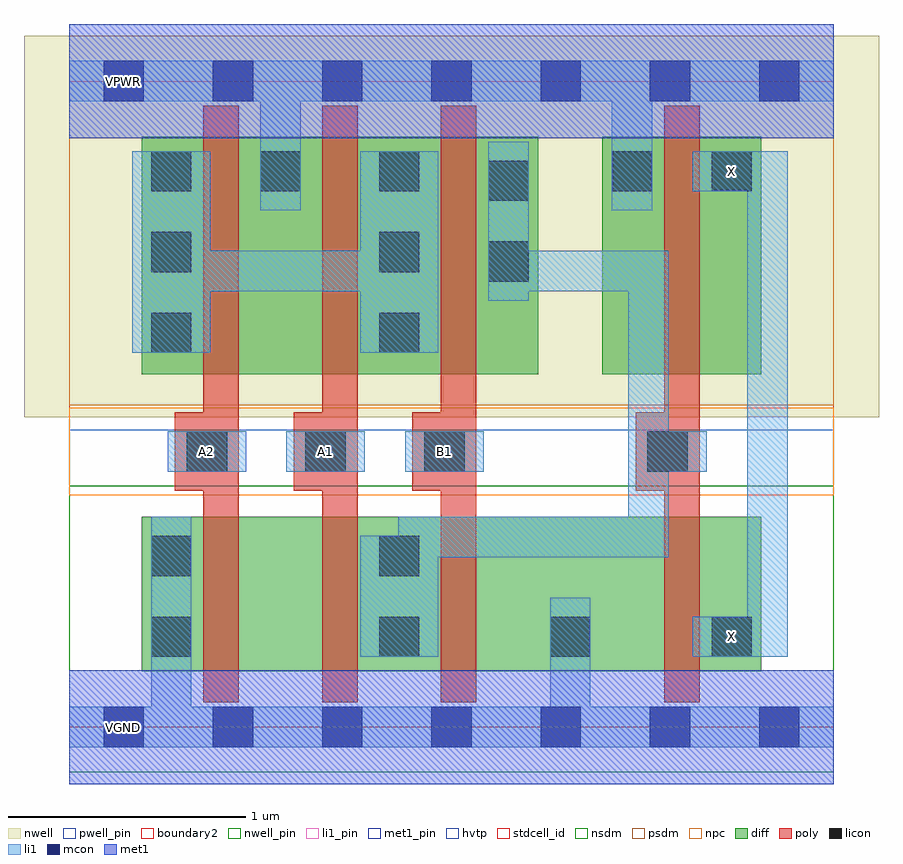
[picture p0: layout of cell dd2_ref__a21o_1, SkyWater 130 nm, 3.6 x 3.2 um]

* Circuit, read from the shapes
.subckt dd2_ref__a21o_1 A1 A2 B1 VGND VNB VPB VPWR X
XM1 n1 A2 VGND VNB sky130_fd_pr__nfet_01v8 w=0.65 l=0.15
XM2 n2 A1 n1 VNB sky130_fd_pr__nfet_01v8 w=0.65 l=0.15
XM3 VGND B1 n2 VNB sky130_fd_pr__nfet_01v8 w=0.65 l=0.15
XM4 X n2 VGND VNB sky130_fd_pr__nfet_01v8 w=0.65 l=0.15
XM5 VPWR A2 n3 VPB sky130_fd_pr__pfet_01v8_hvt w=1 l=0.15
XM6 n3 A1 VPWR VPB sky130_fd_pr__pfet_01v8_hvt w=1 l=0.15
XM7 n2 B1 n3 VPB sky130_fd_pr__pfet_01v8_hvt w=1 l=0.15
XM8 X n2 VPWR VPB sky130_fd_pr__pfet_01v8_hvt w=1 l=0.15
.ends

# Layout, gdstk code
import gdstk
lib = gdstk.Library(unit=1e-6, precision=1e-09)
def R(c, l, rs):  # rectangles x0, y0, x1, y1
    for r in rs: c.add(gdstk.rectangle(r[:2], r[2:], *l))
def A(c, l, x, y, w, h, nx, ny, dx, dy):  # array of equal rectangles
    R(c, l, [(x+i*dx, y+j*dy, x+i*dx+w, y+j*dy+h) for i in range(nx) for j in range(ny)])
nwell_pin = (64, 16)
nwell = (64, 20)
diff = (65, 20)
poly = (66, 20)
licon = (66, 44)
li1_pin = (67, 16)
li1 = (67, 20)
mcon = (67, 44)
met1_pin = (68, 16)
met1 = (68, 20)
hvtp = (78, 44)
stdcell_id = (81, 4)
nsdm = (93, 44)
psdm = (94, 20)
npc = (95, 20)
pwell_pin = (122, 16)
boundary2 = (236, 0)

dd2_ref__a21o_1 = lib.new_cell('dd2_ref__a21o_1')
R(dd2_ref__a21o_1, nwell_pin, [(0.145,2.635,0.315,2.805)])
R(dd2_ref__a21o_1, nwell, [(-0.19,1.305,3.41,2.91)])
R(dd2_ref__a21o_1, diff, [(0.305,0.235,0.89,0.885), (0.89,0.235,1.39,0.885), (1.39,0.235,2.11,0.885), (2.11,0.235,2.915,0.885), (0.305,1.485,0.89,2.485), (0.89,1.485,1.39,2.485), (1.39,1.485,1.975,2.485), (2.245,1.485,2.915,2.485)])
A(dd2_ref__a21o_1, poly, 0.565, 0.105, 0.15, 2.51, 3, 1, 0.5, 0)
A(dd2_ref__a21o_1, poly, 0.445, 0.995, 0.27, 0.33, 3, 1, 0.5, 0)
R(dd2_ref__a21o_1, poly, [(2.505,0.105,2.655,2.615), (2.385,0.995,2.655,1.325)])
A(dd2_ref__a21o_1, licon, 0.495, 1.075, 0.17, 0.17, 3, 1, 0.5, 0)
A(dd2_ref__a21o_1, licon, 0.345, 1.575, 0.17, 0.17, 1, 3, 0, 0.34)
A(dd2_ref__a21o_1, licon, 1.305, 1.575, 0.17, 0.17, 1, 3, 0, 0.34)
R(dd2_ref__a21o_1, licon, [(0.345,0.295,0.515,0.465), (1.305,0.295,1.475,0.465), (2.025,0.295,2.195,0.465), (2.705,0.295,2.875,0.465), (0.345,0.635,0.515,0.805), (1.305,0.635,1.475,0.805), (2.435,1.075,2.605,1.245), (1.765,1.875,1.935,2.045), (1.765,2.215,1.935,2.385), (0.805,2.255,0.975,2.425), (2.285,2.255,2.455,2.425), (2.705,2.255,2.875,2.425)])
A(dd2_ref__a21o_1, li1_pin, 0.495, 1.075, 0.17, 0.17, 3, 1, 0.5, 0)
R(dd2_ref__a21o_1, li1_pin, [(2.705,0.295,2.875,0.465), (2.705,2.255,2.875,2.425)])
A(dd2_ref__a21o_1, li1, 0.415, 1.075, 0.33, 0.17, 3, 1, 0.5, 0)
R(dd2_ref__a21o_1, li1, [(0,-0.085,3.22,0.085), (0.345,-0.085,0.515,0.545), (2.025,-0.085,2.195,0.545), (0.345,0.295,0.515,0.885), (1.225,0.295,1.555,0.465), (1.225,0.295,1.555,0.805), (1.385,0.295,1.555,0.885), (2.625,0.295,2.955,0.465), (2.785,0.295,3.025,0.465), (2.855,0.295,3.025,2.425), (1.385,0.715,2.525,0.885), (2.355,0.715,2.525,1.245), (2.355,1.075,2.685,1.245), (2.355,1.075,2.525,2.005), (0.265,1.575,0.595,2.085), (1.225,1.575,1.555,2.085), (1.765,1.795,1.935,2.385), (0.425,1.835,0.595,2.425), (0.425,1.835,1.395,2.005), (1.225,1.835,1.395,2.425), (1.765,1.835,2.525,2.005), (1.765,1.835,1.935,2.305), (0.265,1.915,0.595,2.425), (1.225,1.915,1.555,2.425), (1.765,2.005,1.935,2.135), (1.765,2.005,1.935,2.135), (1.765,2.005,1.935,2.135), (1.765,2.005,1.935,2.135), (1.765,2.135,1.935,2.465), (0.805,2.175,0.975,2.805), (2.285,2.175,2.455,2.805), (0.265,2.255,0.595,2.425), (1.225,2.255,1.555,2.425), (2.625,2.255,2.955,2.425), (2.785,2.255,3.025,2.425), (0,2.635,3.22,2.805)])
A(dd2_ref__a21o_1, mcon, 0.145, -0.085, 0.17, 0.17, 7, 2, 0.46, 2.72)
R(dd2_ref__a21o_1, met1_pin, [(0.145,-0.085,0.315,0.085), (0.145,2.635,0.315,2.805)])
R(dd2_ref__a21o_1, met1, [(0,-0.24,3.22,0.24), (0,2.48,3.22,2.96)])
R(dd2_ref__a21o_1, hvtp, [(0,1.25,3.22,2.72)])
R(dd2_ref__a21o_1, stdcell_id, [(0,0,3.22,2.72)])
R(dd2_ref__a21o_1, nsdm, [(0,-0.19,3.22,1.015)])
R(dd2_ref__a21o_1, psdm, [(0,1.355,3.22,2.91)])
R(dd2_ref__a21o_1, npc, [(0,0.975,3.22,1.345)])
R(dd2_ref__a21o_1, pwell_pin, [(0.145,-0.085,0.315,0.085)])
R(dd2_ref__a21o_1, boundary2, [(0,0,3.22,2.72)])
dd2_ref__a21o_1.add(gdstk.Label('A1', (1.08,1.16), layer=67, texttype=5))
dd2_ref__a21o_1.add(gdstk.Label('A2', (0.58,1.16), layer=67, texttype=5))
dd2_ref__a21o_1.add(gdstk.Label('B1', (1.58,1.16), layer=67, texttype=5))
dd2_ref__a21o_1.add(gdstk.Label('X', (2.79,0.38), layer=67, texttype=5))
dd2_ref__a21o_1.add(gdstk.Label('X', (2.79,2.34), layer=67, texttype=5))
dd2_ref__a21o_1.add(gdstk.Label('VGND', (0.23,0), layer=68, texttype=5))
dd2_ref__a21o_1.add(gdstk.Label('VPWR', (0.23,2.72), layer=68, texttype=5))
dd2_ref__a21o_1.add(gdstk.Label('VPB', (0.23,2.72), layer=64, texttype=5))
dd2_ref__a21o_1.add(gdstk.Label('VNB', (0.23,0), layer=64, texttype=59))

lib.write_gds('dd2_ref__a21o_1.gds')
